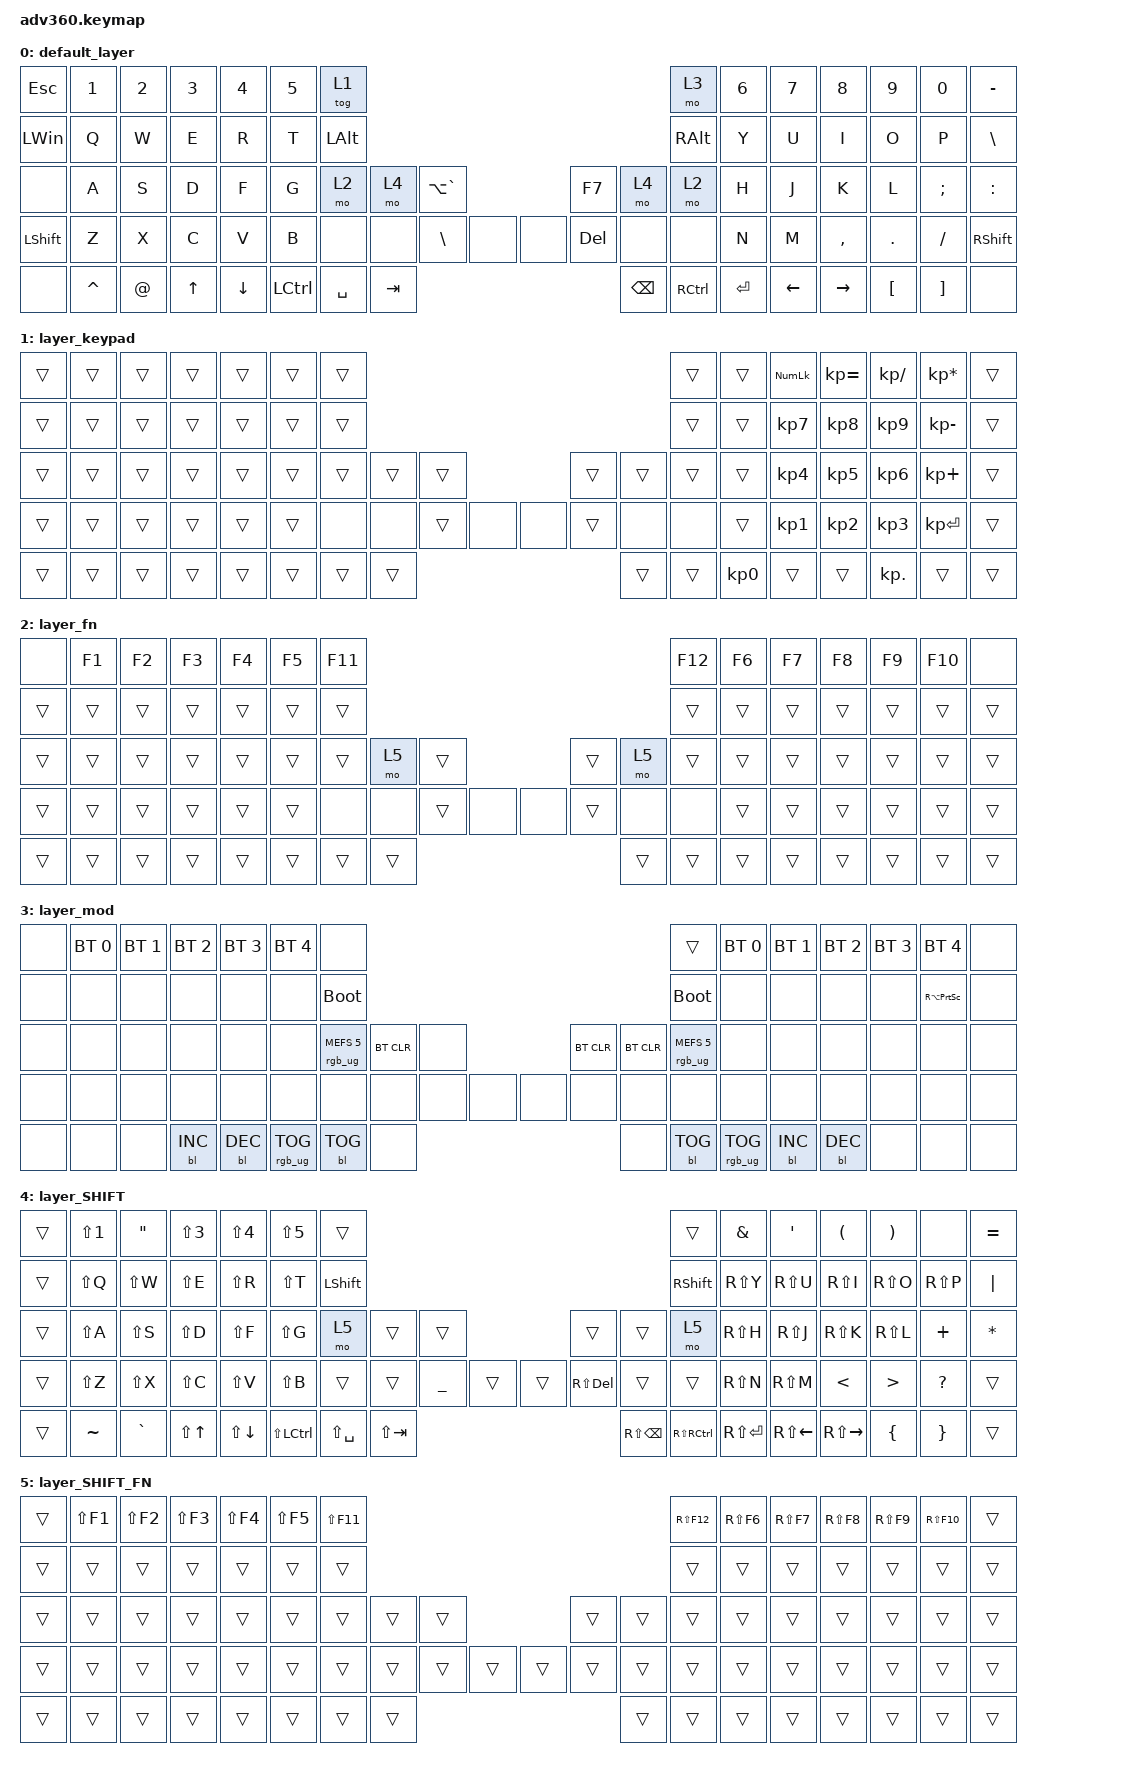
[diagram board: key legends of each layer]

/*
 * Copyright (c) 2020 The ZMK Contributors
 *
 * SPDX-License-Identifier: MIT
 */


/* THIS FILE WAS GENERATED!
 *
 * This file was generated automatically. You may or may not want to
 * edit it directly.
 */

#include <behaviors.dtsi>
#include <dt-bindings/zmk/keys.h>
#include <dt-bindings/zmk/bt.h>
#include <dt-bindings/zmk/rgb.h>
#include <dt-bindings/zmk/backlight.h>

/ {
  behaviors {
    #include "macros.dtsi"

    hm: homerow_mods {
        compatible = "zmk,behavior-hold-tap";
        label = "HOMEROW_MODS";
        #binding-cells = <2>;
        tapping-term-ms = <200>;
        quick_tap_ms = <175>;
        flavor = "tap-preferred";
        bindings = <&kp>, <&kp>;
    };
  };

    keymap {
        compatible = "zmk,keymap";


        default_layer {
            bindings = <
   &kp ESCAPE     &kp N1       &kp N2  &kp N3    &kp N4  &kp N5                  &tog 1                                                                              &mo 3  &kp N6    &kp N7     &kp N8    &kp N9    &kp N0      &kp MINUS
 &kp LEFT_WIN      &kp Q        &kp W   &kp E     &kp R   &kp T            &kp LEFT_ALT                                                                      &kp RIGHT_ALT   &kp Y     &kp U      &kp I     &kp O     &kp P  &kp BACKSLASH
        &none      &kp A        &kp S   &kp D     &kp F   &kp G                   &mo 2      &mo 4  &kp LA(GRAVE)                         &kp F7      &mo 4          &mo 2   &kp H     &kp J      &kp K     &kp L  &kp SEMI      &kp COLON
    &kp LSHFT      &kp Z        &kp X   &kp C     &kp V   &kp B                   &none      &none  &kp BACKSLASH   &none   &none     &kp DELETE      &none          &none   &kp N     &kp M  &kp COMMA   &kp DOT  &kp FSLH      &kp RSHFT
        &none  &kp CARET  &kp AT_SIGN  &kp UP  &kp DOWN                       &kp LCTRL  &kp SPACE        &kp TAB                  &kp BACKSPACE  &kp RCTRL      &kp ENTER          &kp LEFT  &kp RIGHT  &kp LBKT  &kp RBKT          &none
            >;
        };

        layer_keypad {
            bindings = <
 &trans  &trans  &trans  &trans  &trans  &trans            &trans                                                     &trans  &trans  &kp KP_NUM  &kp KP_EQUAL  &kp KP_DIVIDE  &kp KP_MULTIPLY  &trans
 &trans  &trans  &trans  &trans  &trans  &trans            &trans                                                     &trans  &trans   &kp KP_N7     &kp KP_N8      &kp KP_N9     &kp KP_MINUS  &trans
 &trans  &trans  &trans  &trans  &trans  &trans            &trans  &trans  &trans                  &trans  &trans     &trans  &trans   &kp KP_N4     &kp KP_N5      &kp KP_N6      &kp KP_PLUS  &trans
 &trans  &trans  &trans  &trans  &trans  &trans             &none   &none  &trans   &none   &none  &trans   &none      &none  &trans   &kp KP_N1     &kp KP_N2      &kp KP_N3     &kp KP_ENTER  &trans
 &trans  &trans  &trans  &trans  &trans                    &trans  &trans  &trans                  &trans  &trans  &kp KP_N0              &trans        &trans     &kp KP_DOT           &trans  &trans
            >;
        };

        layer_fn {
            bindings = <
  &none  &kp F1  &kp F2  &kp F3  &kp F4  &kp F5            &kp F11                                                  &kp F12  &kp F6  &kp F7  &kp F8  &kp F9  &kp F10   &none
 &trans  &trans  &trans  &trans  &trans  &trans             &trans                                                   &trans  &trans  &trans  &trans  &trans   &trans  &trans
 &trans  &trans  &trans  &trans  &trans  &trans             &trans   &mo 5  &trans                  &trans   &mo 5   &trans  &trans  &trans  &trans  &trans   &trans  &trans
 &trans  &trans  &trans  &trans  &trans  &trans              &none   &none  &trans   &none   &none  &trans   &none    &none  &trans  &trans  &trans  &trans   &trans  &trans
 &trans  &trans  &trans  &trans  &trans                     &trans  &trans  &trans                  &trans  &trans   &trans          &trans  &trans  &trans   &trans  &trans
            >;
        };

        layer_mod {
            bindings = <
  &none  &bt BT_SEL 0  &bt BT_SEL 1  &bt BT_SEL 2  &bt BT_SEL 3  &bt BT_SEL 4                             &none                                                                              &trans  &bt BT_SEL 0  &bt BT_SEL 1  &bt BT_SEL 2  &bt BT_SEL 3         &bt BT_SEL 4   &none
  &none         &none         &none         &none         &none         &none                       &bootloader                                                                         &bootloader         &none         &none         &none         &none  &kp RA(PRINTSCREEN)   &none
  &none         &none         &none         &none         &none         &none            &rgb_ug RGB_MEFS_CMD 5  &bt BT_CLR   &none                  &bt BT_CLR  &bt BT_CLR  &rgb_ug RGB_MEFS_CMD 5         &none         &none         &none         &none                &none   &none
  &none         &none         &none         &none         &none         &none                             &none       &none   &none   &none   &none       &none       &none                   &none         &none         &none         &none         &none                &none   &none
  &none         &none         &none    &bl BL_INC    &bl BL_DEC                                 &rgb_ug RGB_TOG  &bl BL_TOG   &none                       &none  &bl BL_TOG         &rgb_ug RGB_TOG                  &bl BL_INC    &bl BL_DEC         &none                &none   &none
            >;
        };

        layer_SHIFT {
            bindings = <
 &trans  &kp LS(N1)  &kp DOUBLE_QUOTES  &kp LS(N3)    &kp LS(N4)  &kp LS(N5)                    &trans                                                                                            &trans  &kp AMPERSAND  &kp SINGLE_QUOTE  &kp LEFT_PARENTHESIS  &kp RIGHT_PARENTHESIS            &none     &kp EQUAL
 &trans   &kp LS(Q)          &kp LS(W)   &kp LS(E)     &kp LS(R)   &kp LS(T)            &kp LEFT_SHIFT                                                                                   &kp RIGHT_SHIFT      &kp RS(Y)         &kp RS(U)             &kp RS(I)              &kp RS(O)        &kp RS(P)      &kp PIPE
 &trans   &kp LS(A)          &kp LS(S)   &kp LS(D)     &kp LS(F)   &kp LS(G)                     &mo 5         &trans          &trans                             &trans         &trans            &mo 5      &kp RS(H)         &kp RS(J)             &kp RS(K)              &kp RS(L)         &kp PLUS  &kp ASTERISK
 &trans   &kp LS(Z)          &kp LS(X)   &kp LS(C)     &kp LS(V)   &kp LS(B)                    &trans         &trans  &kp UNDERSCORE  &trans  &trans     &kp RS(DELETE)         &trans           &trans      &kp RS(N)         &kp RS(M)         &kp LESS_THAN       &kp GREATER_THAN     &kp QUESTION        &trans
 &trans   &kp TILDE          &kp GRAVE  &kp LS(UP)  &kp LS(DOWN)                         &kp LS(LCTRL)  &kp LS(SPACE)     &kp LS(TAB)                  &kp RS(BACKSPACE)  &kp RS(RCTRL)    &kp RS(ENTER)                     &kp RS(LEFT)         &kp RS(RIGHT)         &kp LEFT_BRACE  &kp RIGHT_BRACE        &trans
            >;
        };

        layer_SHIFT_FN {
            bindings = <
 &trans  &kp LS(F1)  &kp LS(F2)  &kp LS(F3)  &kp LS(F4)  &kp LS(F5)            &kp LS(F11)                                                  &kp RS(F12)  &kp RS(F6)  &kp RS(F7)  &kp RS(F8)  &kp RS(F9)  &kp RS(F10)  &trans
 &trans      &trans      &trans      &trans      &trans      &trans                 &trans                                                       &trans      &trans      &trans      &trans      &trans       &trans  &trans
 &trans      &trans      &trans      &trans      &trans      &trans                 &trans  &trans  &trans                  &trans  &trans       &trans      &trans      &trans      &trans      &trans       &trans  &trans
 &trans      &trans      &trans      &trans      &trans      &trans                 &trans  &trans  &trans  &trans  &trans  &trans  &trans       &trans      &trans      &trans      &trans      &trans       &trans  &trans
 &trans      &trans      &trans      &trans      &trans                             &trans  &trans  &trans                  &trans  &trans       &trans                  &trans      &trans      &trans       &trans  &trans
            >;
        };

    };
};
